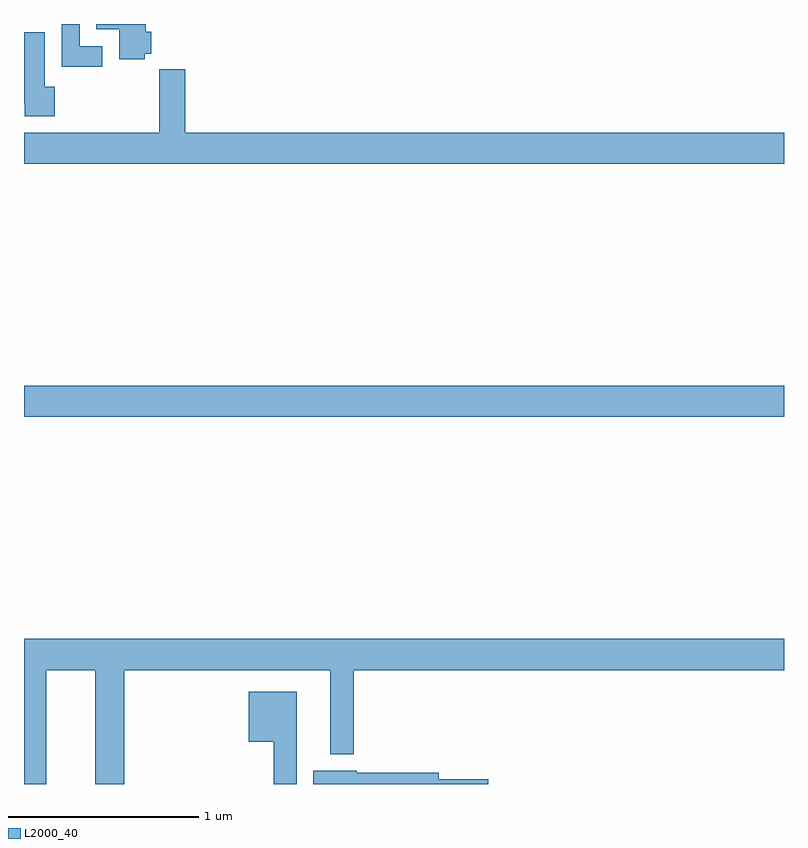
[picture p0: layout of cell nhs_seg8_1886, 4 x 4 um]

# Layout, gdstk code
import gdstk
lib = gdstk.Library(unit=1e-6, precision=1e-09)
def R(c, l, rs):  # rectangles x0, y0, x1, y1
    for r in rs: c.add(gdstk.rectangle(r[:2], r[2:], *l))
def P(c, l, *ps):  # polygons
    for p in ps: c.add(gdstk.Polygon(p, *l))
L2000_40 = (2000, 40)

nhs_seg8_1886 = lib.new_cell('nhs_seg8_1886')
R(nhs_seg8_1886, L2000_40, [(231,1117.832,235,1117.996)])
P(nhs_seg8_1886, L2000_40, [(231.636,1119.744),(231.671,1119.744),(231.671,1119.858),(231.64,1119.858),(231.64,1119.9),(231.379,1119.9),(231.379,1119.872),(231.5,1119.872),(231.5,1119.715),(231.636,1119.715)],
  [(231.412,1119.783),(231.294,1119.783),(231.294,1119.9),(231.198,1119.9),(231.198,1119.675),(231.412,1119.675)],
  [(231.161,1119.57),(231.109,1119.57),(231.109,1119.856),(231,1119.856),(231,1119.48),(231.004,1119.48),(231.004,1119.414),(231.161,1119.414)],
  [(235,1119.328),(231.848,1119.328),(231.848,1119.661),(231.712,1119.661),(231.712,1119.328),(231,1119.328),(231,1119.164),(235,1119.164)],
  [(231.118,1116.5),(231.374,1116.5),(231.374,1115.9),(231.527,1115.9),(231.527,1116.5),(232.613,1116.5),(232.613,1116.056),(232.735,1116.056),(232.735,1116.5),(235,1116.5),(235,1116.664),(231,1116.664),(231,1115.9),(231.118,1115.9)],
  [(232.435,1116.385),(232.184,1116.385),(232.184,1116.122),(232.314,1116.122),(232.314,1115.9),(232.435,1115.9)],
  [(233.443,1115.924),(233.182,1115.924),(233.182,1115.96),(232.75,1115.96),(232.75,1115.971),(232.523,1115.971),(232.523,1115.9),(233.443,1115.9)])

lib.write_gds('nhs_seg8_1886.gds')
